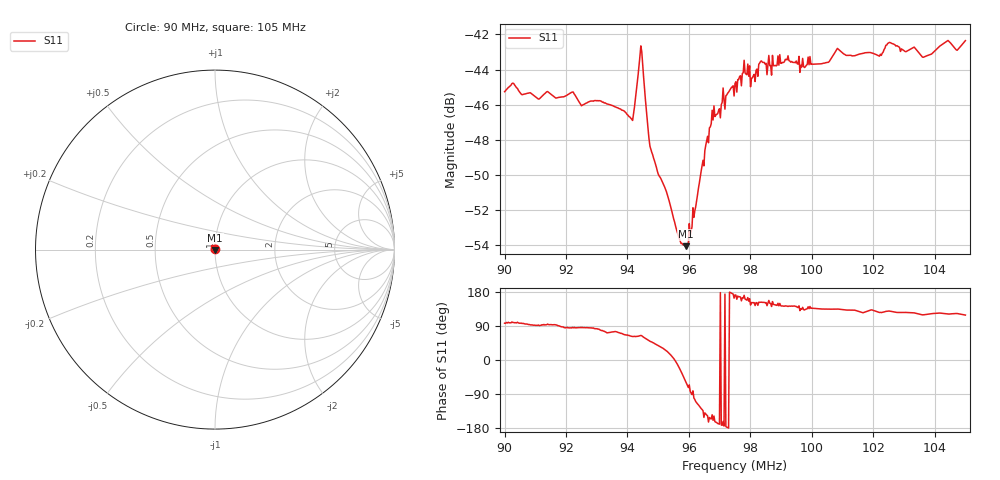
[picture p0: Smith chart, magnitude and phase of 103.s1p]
# HZ S RI R 50
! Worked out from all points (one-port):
!   505 points, 90 MHz to 105 MHz, reference 50 ohm
!   lowest |S11| = -54.1 dB at 95.89 MHz (marker M1), VSWR 1.00, Z = 50.1 - j0.166 ohm
!   |S11| at or under -10 dB: start of sweep to end of sweep
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9e7  -0.000675 0.00542
9.026786e7  -0.000902 0.0057
9.107143e7  -0.000114 0.00522
9.187501e7  0.000251 0.00527
9.375001e7  0.00156 0.00462
9.416668e7  0.00212 0.00399
9.443454e7  0.00314 0.00667
9.449406e7  0.00307 0.00576
9.467263e7  0.0026 0.00336
9.476192e7  0.00249 0.00279
9.562502e7  0.00212 -0.000431
9.589288e7  0.00108 -0.00166
9.622026e7  -0.000857 -0.00242
9.675597e7  -0.00393 -0.00281
9.750002e7  -0.0057 0.000825
9.785717e7  -0.00573 0.00216
9.80655e7  -0.00524 0.00288
9.833336e7  -0.00591 0.00307
9.937503e7  -0.00521 0.00407
1.004762e8  -0.00461 0.00474
1.008631e8  -0.00504 0.00515
1.0125e8  -0.00462 0.00516
1.022024e8  -0.00399 0.00561
1.025298e8  -0.00476 0.00585
1.03125e8  -0.00412 0.00583
1.036608e8  -0.00337 0.00597
1.04375e8  -0.004 0.00642
1.05e8  -0.00365 0.0067
